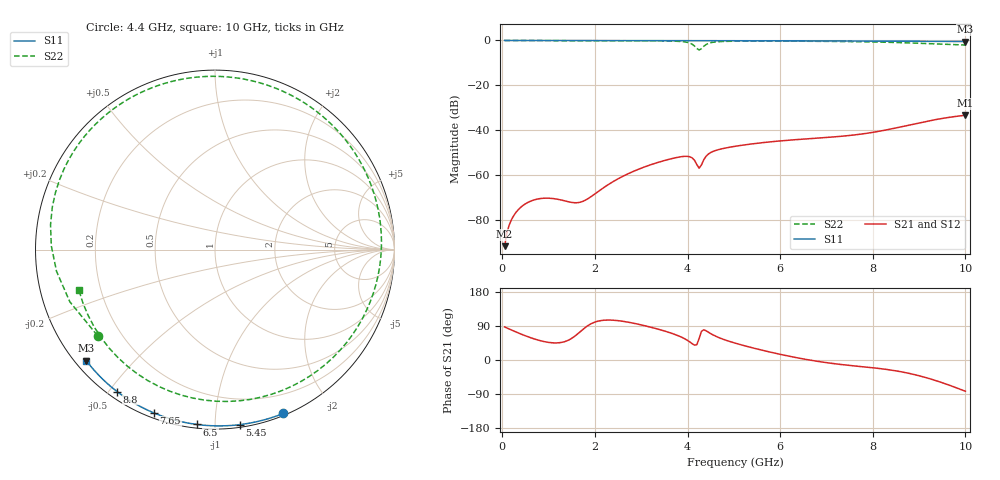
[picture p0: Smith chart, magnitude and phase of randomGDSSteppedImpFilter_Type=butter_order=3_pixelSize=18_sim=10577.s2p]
! freq	dB(S11)	phase(S11)	dB(S12)	phase(S12)
!  dB(S21)	phase(S21)	dB(S22)	phase(S22)
!S-par simulation data
#  GHz  S  DB  R 50
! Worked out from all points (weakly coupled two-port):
!   200 points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, 50 MHz to 10 GHz, reference 50 ohm
!   highest |S21| = -33.26 dB at 10 GHz (marker M1); lowest = -91.5 dB at 50 MHz (marker M2)
!   lowest |S11| = -0.5 dB at 10 GHz (marker M3), VSWR 36.74, Z = 1.55 - j18.6 ohm
!   |S11| at or under -10 dB: nowhere
!   |S22| runs from -4.2 to 0.0 dB; largest |S21 - S12| = 0
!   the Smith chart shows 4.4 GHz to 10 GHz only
!   S11 on the Smith chart (normalised r, x): 4.4 GHz: 0.02, -1.50; 5.45 GHz: 0.02, -1.15; 6.5 GHz: 0.02, -0.90; 7.65 GHz: 0.02, -0.69; 8.8 GHz: 0.03, -0.52; 10 GHz: 0.03, -0.37
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0.05  -0.00 -0.8  -91.47 87.2  -91.47 87.2  -0.00 -4.8
0.8  -0.02 -12.8  -70.37 51.6  -70.37 51.6  -0.08 -70.8
1.75  -0.04 -27.8  -71.45 81.7  -71.45 81.7  -0.11 -130.9
2.55  -0.05 -40.2  -60.96 103.1  -60.96 103.1  -0.13 -167.8
3.4  -0.07 -52.9  -53.99 80.2  -53.99 80.2  -0.19 154.7
3.8  -0.08 -58.8  -51.91 64.0  -51.91 64.0  -0.38 128.0
4.05  -0.09 -62.4  -51.72 47.5  -51.72 47.5  -1.16 88.2
4.15  -0.09 -63.8  -53.26 39.1  -53.26 39.1  -2.46 47.3
4.2  -0.09 -64.5  -55.16 40.4  -55.16 40.4  -3.55 11.6
4.25  -0.09 -65.3  -56.80 56.5  -56.80 56.5  -4.23 -36.4
4.3  -0.09 -66.0  -55.37 75.5  -55.37 75.5  -3.65 -84.4
4.4  -0.10 -67.4  -51.50 77.2  -51.50 77.2  -1.82 -143.8
4.65  -0.10 -70.9  -48.64 60.5  -48.64 60.5  -0.57 165.4
5.05  -0.12 -76.5  -46.98 43.7  -46.98 43.7  -0.32 136.3
5.45  -0.13 -81.9  -45.85 30.6  -45.85 30.6  -0.29 117.4
6.5  -0.18 -95.8  -43.86 2.8  -43.86 2.8  -0.34 73.8
6.7  -0.19 -98.4  -43.57 -1.4  -43.57 -1.4  -0.36 65.1
7.65  -0.25 -110.5  -41.89 -16.2  -41.89 -16.2  -0.54 19.4
8.35  -0.31 -119.1  -39.54 -25.8  -39.54 -25.8  -0.82 -21.8
8.8  -0.35 -124.6  -37.56 -35.7  -37.56 -35.7  -1.10 -53.2
9.4  -0.41 -131.9  -35.03 -55.9  -35.03 -55.9  -1.59 -103.0
10  -0.47 -139.1  -33.26 -82.6  -33.26 -82.6  -2.03 -163.4
